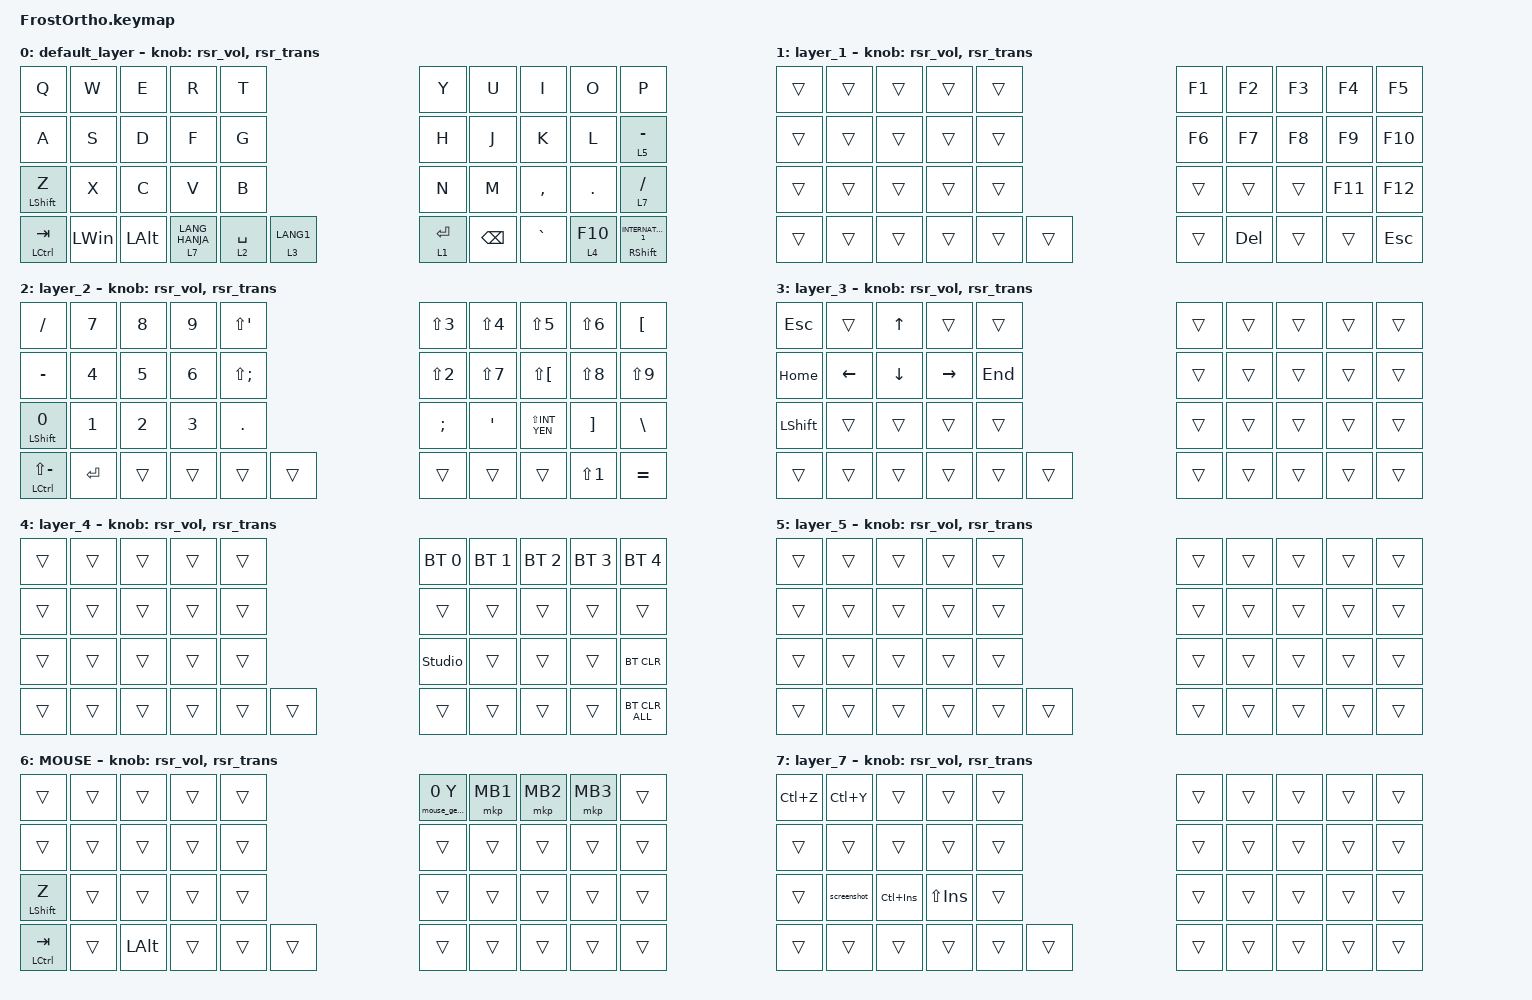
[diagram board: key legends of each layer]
#include <input/processors.dtsi>
#include <behaviors/runtime-sensor-rotate.dtsi>
#include <behaviors.dtsi>
#include <dt-bindings/zmk/bt.h>
#include <dt-bindings/zmk/keys.h>
#include <dt-bindings/zmk/pointing.h>
#include <behaviors/runtime-sensor-rotate.dtsi>
#include <mouse-gesture.dtsi>

#define MOUSE 6

&mt {
    flavor = "balanced";
    quick-tap-ms = <0>;
};

// マウスジェスチャー（AMLのYキーを長押ししながらボールを動かす）
&zip_mouse_gesture {
    stroke-size = <50>; // 1ストロークと判定する移動量
    enable-eager-mode;
    suppress-movement; // ジェスチャー中はカーソルを動かさない

    history_back {
        pattern = <GESTURE_LEFT>;
        bindings = <&kp LA(LEFT)>; // 戻る
    };
    history_forward {
        pattern = <GESTURE_RIGHT>;
        bindings = <&kp LA(RIGHT)>; // 進む
    };
    prev_tab {
        pattern = <GESTURE_UP>;
        bindings = <&kp LC(TAB)>; // 次のタブ
    };
    next_tab {
        pattern = <GESTURE_DOWN>;
        bindings = <&kp LC(LS(TAB))>; // 前のタブ
    };
};

/ {
    combos { compatible = "zmk,combos"; };

    macros {
        to_layer_0: to_layer_0 {
            compatible = "zmk,behavior-macro-one-param";
            #binding-cells = <1>;
            bindings = <&to 0 &macro_param_1to1 &kp MACRO_PLACEHOLDER>;
            label = "TO_LAYER_0";
        };

        screenshot: screenshot {
            compatible = "zmk,behavior-macro";
            #binding-cells = <0>;
            bindings =
                <&to 7>,
                <&macro_press>,
                <&kp LEFT_WIN &kp LEFT_SHIFT &kp S>,
                <&macro_release>,
                <&kp LEFT_WIN &kp LEFT_SHIFT &kp S>;

            label = "SCREENSHOT";
        };
    };

    behaviors {
        lt_to_layer_0: lt_to_layer_0 {
            compatible = "zmk,behavior-hold-tap";
            label = "LAYER_TAP_TO_0";
            bindings = <&mo>, <&to_layer_0>;

            #binding-cells = <2>;
            tapping-term-ms = <300>;
        };
        // Kyemap Editor用
        scroll_up_down: behavior_sensor_rotate_mouse_wheel_up_down {
            compatible = "zmk,behavior-sensor-rotate";
            #sensor-binding-cells = <0>;
            tap-ms = <20>;
            bindings = <&msc SCRL_UP>, <&msc SCRL_DOWN>;
        };
        vol_up_down: vol_up_down {
            compatible = "zmk,behavior-sensor-rotate";
            #sensor-binding-cells = <0>;
            tap-ms = <5>;
            bindings = <&kp C_VOL_DN>, <&kp C_VOL_UP>;
        };
        // DYA Studio用
        rsr_vol: rsr_vol {
            compatible = "zmk,behavior-runtime-sensor-rotate";
            #sensor-binding-cells = <0>;
            tap-ms = <5>;
            cw-binding = <&kp C_VOL_DN>;
            ccw-binding = <&kp C_VOL_UP>;
        };
    };

    keymap {
        compatible = "zmk,keymap";

        default_layer {
            bindings = <
&kp Q                 &kp W         &kp E         &kp R             &kp T                         &kp Y        &kp U          &kp I      &kp O         &kp P
&kp A                 &kp S         &kp D         &kp F             &kp G                         &kp H        &kp J          &kp K      &kp L         &lt 5 MINUS
&mt LEFT_SHIFT Z      &kp X         &kp C         &kp V             &kp B                         &kp N        &kp M          &kp COMMA  &kp PERIOD    &lt 7 SLASH
&mt LEFT_CONTROL TAB  &kp LEFT_WIN  &kp LEFT_ALT  &lt 7 LANG_HANJA  &lt 2 SPACE  &lt 3 LANG1      &lt 1 ENTER  &kp BACKSPACE  &kp GRAVE  &lt 4 F10     &mt RIGHT_SHIFT INTERNATIONAL_1
            >;

            sensor-bindings = <&rsr_vol &rsr_trans>;
        };

        layer_1 {
            bindings = <
&trans  &trans  &trans  &trans  &trans              &kp F1  &kp F2   &kp F3  &kp F4   &kp F5
&trans  &trans  &trans  &trans  &trans              &kp F6  &kp F7   &kp F8  &kp F9   &kp F10
&trans  &trans  &trans  &trans  &trans              &trans  &trans   &trans  &kp F11  &kp F12
&trans  &trans  &trans  &trans  &trans  &trans      &trans  &kp DEL  &trans  &trans   &kp ESCAPE
            >;

            sensor-bindings = <&rsr_vol &rsr_trans>;
        };

        layer_2 {
            bindings = <
&kp SLASH                   &kp N7     &kp N8  &kp N9  &kp LS(SQT)                    &kp LS(NUMBER_3)  &kp LS(NUMBER_4)  &kp LS(NUMBER_5)      &kp LS(NUMBER_6)   &kp LEFT_BRACKET
&kp MINUS                   &kp N4     &kp N5  &kp N6  &kp LS(SEMICOLON)              &kp LS(N2)        &kp LS(N7)        &kp LS(LEFT_BRACKET)  &kp LS(NUMBER_8)   &kp LS(NUMBER_9)
&mt LEFT_SHIFT N0           &kp N1     &kp N2  &kp N3  &kp PERIOD                     &kp SEMICOLON     &kp SQT           &kp LS(INT_YEN)       &kp RIGHT_BRACKET  &kp BACKSLASH
&mt LEFT_CONTROL LS(MINUS)  &kp ENTER  &trans  &trans  &trans             &trans      &trans            &trans            &trans                &kp LS(NUMBER_1)   &kp EQUAL
            >;

            sensor-bindings = <&rsr_vol &rsr_trans>;
        };

        layer_3 {
            bindings = <
&kp ESCAPE      &trans          &kp UP_ARROW    &trans           &trans              &trans  &trans  &trans  &trans  &trans
&kp HOME        &kp LEFT_ARROW  &kp DOWN_ARROW  &kp RIGHT_ARROW  &kp END             &trans  &trans  &trans  &trans  &trans
&kp LEFT_SHIFT  &trans          &trans          &trans           &trans              &trans  &trans  &trans  &trans  &trans
&trans          &trans          &trans          &trans           &trans  &trans      &trans  &trans  &trans  &trans  &trans
            >;

            sensor-bindings = <&rsr_vol &rsr_trans>;
        };

        layer_4 {
            bindings = <
&trans  &trans  &trans  &trans  &trans              &bt BT_SEL 0    &bt BT_SEL 1  &bt BT_SEL 2  &bt BT_SEL 3  &bt BT_SEL 4
&trans  &trans  &trans  &trans  &trans              &trans          &trans        &trans        &trans        &trans
&trans  &trans  &trans  &trans  &trans              &studio_unlock  &trans        &trans        &trans        &bt BT_CLR
&trans  &trans  &trans  &trans  &trans  &trans      &trans          &trans        &trans        &trans        &bt BT_CLR_ALL
            >;

            sensor-bindings = <&rsr_vol &rsr_trans>;
        };

        layer_5 {
            bindings = <
&trans  &trans  &trans  &trans  &trans              &trans  &trans  &trans  &trans  &trans
&trans  &trans  &trans  &trans  &trans              &trans  &trans  &trans  &trans  &trans
&trans  &trans  &trans  &trans  &trans              &trans  &trans  &trans  &trans  &trans
&trans  &trans  &trans  &trans  &trans  &trans      &trans  &trans  &trans  &trans  &trans
            >;

            sensor-bindings = <&rsr_vol &rsr_trans>;
        };

        // AML: &trans 以外のキーは押しても AML から離脱しない
        MOUSE {
            bindings = <
&trans                &trans  &trans        &trans  &trans              &mouse_gesture_kp 0 Y  &mkp MB1  &mkp MB2  &mkp MB3  &trans
&trans                &trans  &trans        &trans  &trans              &trans                 &trans    &trans    &trans    &trans
&mt LEFT_SHIFT Z      &trans  &trans        &trans  &trans              &trans                 &trans    &trans    &trans    &trans
&mt LEFT_CONTROL TAB  &trans  &kp LEFT_ALT  &trans  &trans  &trans      &trans                 &trans    &trans    &trans    &trans
            >;

            sensor-bindings = <&rsr_vol &rsr_trans>;
        };

        layer_7 {
            bindings = <
&kp LC(Z)  &kp LC(Y)    &trans       &trans       &trans              &trans  &trans  &trans  &trans  &trans
&trans     &trans       &trans       &trans       &trans              &trans  &trans  &trans  &trans  &trans
&trans     &screenshot  &kp LC(INS)  &kp LS(INS)  &trans              &trans  &trans  &trans  &trans  &trans
&trans     &trans       &trans       &trans       &trans  &trans      &trans  &trans  &trans  &trans  &trans
            >;

            sensor-bindings = <&rsr_vol &rsr_trans>;
        };
    };
};
